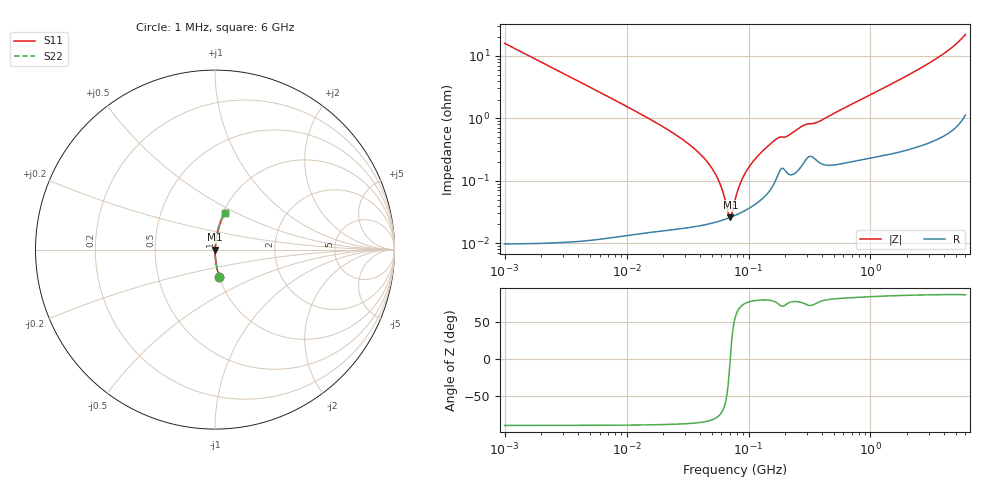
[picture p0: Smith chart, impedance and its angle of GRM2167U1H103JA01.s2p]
!Murata Part Number: GRM2167U1H103JA01
!These Parameters are Measured in Series Mode Connection
!Data Generated on Mar 30, 2021
!  o--ll--o
!Port1  Port2
!  o------o
!Operation Temp=25[degC], DC Bias Voltage=0[V]
!Freq. Start=1000[kHz] Stop=6[GHz] 401[Steps]
# Hz S RI R 50
!Freq.(Hz) S11(Real) S11(Imag) S21(Real) S21(Imag) S12(Real) S12(Imag) S22(Real) S22(Imag)
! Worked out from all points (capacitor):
!   401 points, 1 MHz to 6 GHz, reference 50 ohm
!   read as one part in series: C = 10 nF near 1.044 MHz
!   lowest |Z| = 26 mohm at 71.01 MHz (marker M1)
!   series resonance near 70.8 MHz, so ESL is about 500 pH
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1000000  0.0246 -0.1547  0.9754 0.1547  0.9754 0.1547  0.0246 -0.1547
4293785  0.00146 -0.0367  0.9985 0.0367  0.9985 0.0367  0.00146 -0.0367
1.843659e7  0.000219 -0.008  0.9998 0.008  0.9998 0.008  0.000219 -0.008
3.245342e7  0.000193 -0.00385  0.9998 0.00385  0.9998 0.00385  0.000193 -0.00385
4.596069e7  0.000205 -0.00199  0.9998 0.00199  0.9998 0.00199  0.000205 -0.00199
5.712686e7  0.000226 -0.000965  0.9998 0.000965  0.9998 0.000965  0.000226 -0.000965
6.097846e7  0.000234 -0.000669  0.9998 0.000669  0.9998 0.000669  0.000234 -0.000669
6.798347e7  0.000251 -0.000181  0.9997 0.000181  0.9997 0.000181  0.000251 -0.000181
7.100585e7  0.00026 1.34e-05  0.9997 -1.34e-05  0.9997 -1.34e-05  0.00026 1.34e-05
7.416259e7  0.000269 0.000208  0.9997 -0.000208  0.9997 -0.000208  0.000269 0.000208
7.745967e7  0.000279 0.000403  0.9997 -0.000403  0.9997 -0.000403  0.000279 0.000403
8.450008e7  0.000302 0.000796  0.9997 -0.000796  0.9997 -0.000796  0.000302 0.000796
9.420718e7  0.000338 0.0013  0.9997 -0.0013  0.9997 -0.0013  0.000338 0.0013
1.073387e8  0.000394 0.00192  0.9996 -0.00192  0.9996 -0.00192  0.000394 0.00192
1.277378e8  0.000509 0.00282  0.9995 -0.00282  0.9995 -0.00282  0.000509 0.00282
1.732027e8  0.00123 0.00465  0.9988 -0.00465  0.9988 -0.00465  0.00123 0.00465
2.061188e8  0.00138 0.00494  0.9986 -0.00494  0.9986 -0.00494  0.00138 0.00494
2.794814e8  0.00191 0.00735  0.9981 -0.00735  0.9981 -0.00735  0.00191 0.00735
3.325952e8  0.00247 0.00782  0.9975 -0.00782  0.9975 -0.00782  0.00247 0.00782
1.428092e9  0.00378 0.0338  0.9962 -0.0338  0.9962 -0.0338  0.00378 0.0338
3.5601e9  0.0131 0.0917  0.9869 -0.0917  0.9869 -0.0917  0.0131 0.0917
6e9  0.0556 0.2049  0.9444 -0.2049  0.9444 -0.2049  0.0556 0.2049
